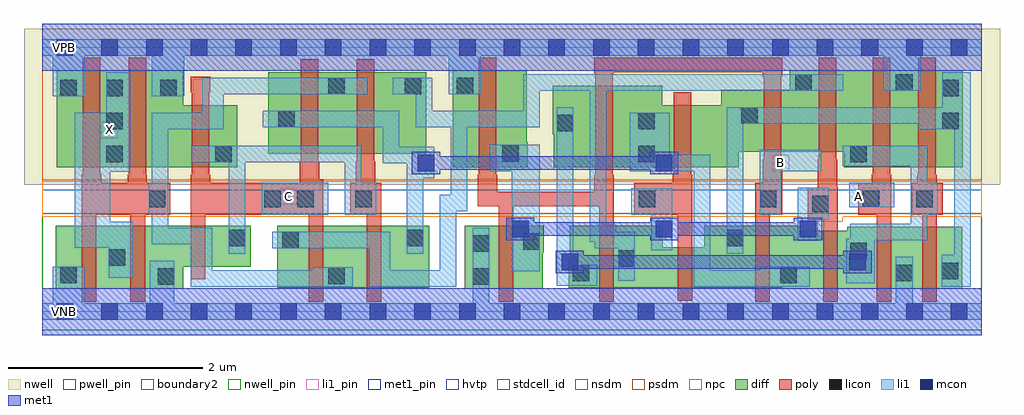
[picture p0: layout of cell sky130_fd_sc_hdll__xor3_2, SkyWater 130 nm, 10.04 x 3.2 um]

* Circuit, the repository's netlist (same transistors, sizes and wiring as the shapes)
* Copyright 2020 The SkyWater PDK Authors
*
* Licensed under the Apache License, Version 2.0 (the "License");
* you may not use this file except in compliance with the License.
* You may obtain a copy of the License at
*
*     https://www.apache.org/licenses/LICENSE-2.0
*
* Unless required by applicable law or agreed to in writing, software
* distributed under the License is distributed on an "AS IS" BASIS,
* WITHOUT WARRANTIES OR CONDITIONS OF ANY KIND, either express or implied.
* See the License for the specific language governing permissions and
* limitations under the License.
*
* SPDX-License-Identifier: Apache-2.0

.SUBCKT sky130_fd_sc_hdll__xor3_2 A B C VGND VNB VPB VPWR X
*.PININFO A:I B:I C:I VGND:I VNB:I VPB:I VPWR:I X:O
MMIP3 X net117 VPWR VPB sky130_fd_pr__pfet_01v8_hvt m=2 w=1.0U l=0.18U mult=1 sa=0.265
+ sb=0.265 sd=0.28 area=0.063 perim=1.14
MI650 mid1 Cb net117 VPB sky130_fd_pr__pfet_01v8_hvt m=1 w=0.84U l=0.18U mult=1
+ sa=0.265 sb=0.265 sd=0.28 area=0.063 perim=1.14
MI1 mid2 C net117 VPB sky130_fd_pr__pfet_01v8_hvt m=1 w=0.84U l=0.18U mult=1 sa=0.265
+ sb=0.265 sd=0.28 area=0.063 perim=1.14
MI33 Cb C VPWR VPB sky130_fd_pr__pfet_01v8_hvt m=1 w=0.64U l=0.18U mult=1 sa=0.265
+ sb=0.265 sd=0.28 area=0.063 perim=1.14
MI45 Ab A VPWR VPB sky130_fd_pr__pfet_01v8_hvt m=1 w=1.0U l=0.18U mult=1 sa=0.265
+ sb=0.265 sd=0.28 area=0.063 perim=1.14
MI47 Abb Ab VPWR VPB sky130_fd_pr__pfet_01v8_hvt m=1 w=1.0U l=0.18U mult=1 sa=0.265
+ sb=0.265 sd=0.28 area=0.063 perim=1.14
MI19 mid1 Bb Ab VPB sky130_fd_pr__pfet_01v8_hvt m=1 w=0.84U l=0.18U mult=1 sa=0.265
+ sb=0.265 sd=0.28 area=0.063 perim=1.14
MI16 Bb B VPWR VPB sky130_fd_pr__pfet_01v8_hvt m=1 w=1.0U l=0.18U mult=1 sa=0.265
+ sb=0.265 sd=0.28 area=0.063 perim=1.14
MI23 mid1 B Abb VPB sky130_fd_pr__pfet_01v8_hvt m=1 w=0.64U l=0.18U mult=1 sa=0.265
+ sb=0.265 sd=0.28 area=0.063 perim=1.14
MI26 mid2 Bb Abb VPB sky130_fd_pr__pfet_01v8_hvt m=1 w=0.64U l=0.18U mult=1 sa=0.265
+ sb=0.265 sd=0.28 area=0.063 perim=1.14
MI27 mid2 B Ab VPB sky130_fd_pr__pfet_01v8_hvt m=1 w=0.84U l=0.18U mult=1 sa=0.265
+ sb=0.265 sd=0.28 area=0.063 perim=1.14
MMIN3 X net117 VGND VNB sky130_fd_pr__nfet_01v8 m=2 w=0.65U l=0.15U mult=1 sa=0.265
+ sb=0.265 sd=0.28 area=0.063 perim=1.14
MI34 Cb C VGND VNB sky130_fd_pr__nfet_01v8 m=1 w=0.42U l=0.15U mult=1 sa=0.265
+ sb=0.265 sd=0.28 area=0.063 perim=1.14
MI649 mid1 C net117 VNB sky130_fd_pr__nfet_01v8 m=1 w=0.64U l=0.15U mult=1 sa=0.265
+ sb=0.265 sd=0.28 area=0.063 perim=1.14
MI2 mid2 Cb net117 VNB sky130_fd_pr__nfet_01v8 m=1 w=0.64U l=0.15U mult=1 sa=0.265
+ sb=0.265 sd=0.28 area=0.063 perim=1.14
MI44 Ab A VGND VNB sky130_fd_pr__nfet_01v8 m=1 w=0.64U l=0.15U mult=1 sa=0.265
+ sb=0.265 sd=0.28 area=0.063 perim=1.14
MI46 Abb Ab VGND VNB sky130_fd_pr__nfet_01v8 m=1 w=0.64U l=0.15U mult=1 sa=0.265
+ sb=0.265 sd=0.28 area=0.063 perim=1.14
MI17 Bb B VGND VNB sky130_fd_pr__nfet_01v8 m=1 w=0.65U l=0.15U mult=1 sa=0.265
+ sb=0.265 sd=0.28 area=0.063 perim=1.14
MI24 Ab B mid1 VNB sky130_fd_pr__nfet_01v8 m=1 w=0.64U l=0.15U mult=1 sa=0.265
+ sb=0.265 sd=0.28 area=0.063 perim=1.14
MI25 Abb Bb mid1 VNB sky130_fd_pr__nfet_01v8 m=1 w=0.42U l=0.15U mult=1 sa=0.265
+ sb=0.265 sd=0.28 area=0.063 perim=1.14
MI28 Abb B mid2 VNB sky130_fd_pr__nfet_01v8 m=1 w=0.64U l=0.15U mult=1 sa=0.265
+ sb=0.265 sd=0.28 area=0.063 perim=1.14
MI29 Ab Bb mid2 VNB sky130_fd_pr__nfet_01v8 m=1 w=0.6U l=0.15U mult=1 sa=0.265
+ sb=0.265 sd=0.28 area=0.063 perim=1.14
.ENDS sky130_fd_sc_hdll__xor3_2

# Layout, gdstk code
import gdstk
lib = gdstk.Library(unit=1e-6, precision=1e-09)
def R(c, l, rs):  # rectangles x0, y0, x1, y1
    for r in rs: c.add(gdstk.rectangle(r[:2], r[2:], *l))
def A(c, l, x, y, w, h, nx, ny, dx, dy):  # array of equal rectangles
    R(c, l, [(x+i*dx, y+j*dy, x+i*dx+w, y+j*dy+h) for i in range(nx) for j in range(ny)])
def P(c, l, *ps):  # polygons
    for p in ps: c.add(gdstk.Polygon(p, *l))
nwell_pin = (64, 16)
nwell = (64, 20)
diff = (65, 20)
poly = (66, 20)
licon = (66, 44)
li1_pin = (67, 16)
li1 = (67, 20)
mcon = (67, 44)
met1_pin = (68, 16)
met1 = (68, 20)
hvtp = (78, 44)
stdcell_id = (81, 4)
nsdm = (93, 44)
psdm = (94, 20)
npc = (95, 20)
pwell_pin = (122, 16)
boundary2 = (236, 0)

sky130_fd_sc_hdll__xor3_ = lib.new_cell('sky130_fd_sc_hdll__xor3_2')
R(sky130_fd_sc_hdll__xor3_, nwell_pin, [(0.145,2.635,0.315,2.805)])
R(sky130_fd_sc_hdll__xor3_, nwell, [(-0.19,1.305,9.85,2.91)])
R(sky130_fd_sc_hdll__xor3_, diff, [(2.415,0.245,3.98,0.885), (2.325,1.625,3.95,2.465)])
P(sky130_fd_sc_hdll__xor3_, diff, [(2.145,0.885),(0.135,0.885),(0.135,0.235),(1.45,0.235),(1.45,0.465),(2.145,0.465)],
  [(2.005,2.125),(1.45,2.125),(1.45,2.485),(0.145,2.485),(0.145,1.485),(2.005,1.485)],
  [(4.99,1.745),(4.98,1.745),(4.98,2.485),(4.22,2.485),(4.22,1.485),(4.99,1.485)],
  [(5.155,0.885),(4.345,0.885),(4.345,0.235),(5.145,0.235),(5.145,0.605),(5.155,0.605)],
  [(9.46,0.875),(8.28,0.875),(8.28,0.835),(7.78,0.835),(7.78,0.885),(6.81,0.885),(6.81,0.665),(6.38,0.665),(6.38,0.885),(5.425,0.885),(5.425,0.525),(5.415,0.525),(5.415,0.245),(7.615,0.245),(7.615,0.235),(9.46,0.235)],
  [(9.465,2.485),(7.685,2.485),(7.685,2.285),(6.985,2.285),(6.985,2.125),(6.375,2.125),(6.375,2.325),(5.25,2.325),(5.25,1.825),(5.26,1.825),(5.26,1.485),(7.16,1.485),(7.16,1.645),(8.25,1.645),(8.25,1.485),(9.465,1.485)])
P(sky130_fd_sc_hdll__xor3_, poly, [(1.315,1.325),(1.075,1.325),(1.075,1.41),(1.065,1.41),(1.065,2.615),(0.885,2.615),(0.885,1.41),(0.875,1.41),(0.875,1.325),(0.605,1.325),(0.605,1.41),(0.595,1.41),(0.595,2.615),(0.415,2.615),(0.415,1.41),(0.405,1.41),(0.405,0.105),(0.555,0.105),(0.555,0.995),(0.905,0.995),(0.905,0.105),(1.055,0.105),(1.055,0.995),(1.315,0.995)],
  [(2.89,1.355),(2.845,1.355),(2.845,1.55),(2.835,1.55),(2.835,2.595),(2.655,2.595),(2.655,1.55),(2.645,1.55),(2.645,1.325),(1.725,1.325),(1.725,1.41),(1.715,1.41),(1.715,2.255),(1.725,2.255),(1.725,2.415),(1.525,2.415),(1.525,2.255),(1.535,2.255),(1.535,1.41),(1.525,1.41),(1.525,0.335),(1.675,0.335),(1.675,0.995),(2.74,0.995),(2.74,0.105),(2.89,0.105)],
  [(3.485,1.325),(3.425,1.325),(3.425,1.55),(3.415,1.55),(3.415,2.595),(3.235,2.595),(3.235,1.55),(3.225,1.55),(3.225,1.325),(3.165,1.325),(3.165,0.995),(3.335,0.995),(3.335,0.105),(3.485,0.105)],
  [(6.685,1.41),(6.675,1.41),(6.675,2.255),(6.495,2.255),(6.495,1.41),(6.485,1.41),(6.485,1.325),(6.085,1.325),(6.085,0.995),(6.535,0.995),(6.535,0.115),(6.685,0.115)],
  [(7.61,2.615),(5.675,2.615),(5.675,2.455),(5.685,2.455),(5.685,1.41),(5.675,1.41),(5.675,1.235),(4.68,1.235),(4.68,1.41),(4.67,1.41),(4.67,2.615),(4.49,2.615),(4.49,1.41),(4.48,1.41),(4.48,1.085),(4.695,1.085),(4.695,0.105),(4.845,0.105),(4.845,1.085),(5.725,1.085),(5.725,0.105),(5.875,0.105),(5.875,1.41),(5.865,1.41),(5.865,2.455),(5.875,2.455),(5.875,2.465),(7.41,2.465),(7.41,2.415),(7.42,2.415),(7.42,1.57),(7.41,1.57),(7.41,1.325),(7.33,1.325),(7.33,0.105),(7.48,0.105),(7.48,0.995),(7.61,0.995),(7.61,1.57),(7.6,1.57),(7.6,2.415),(7.61,2.415)],
  [(8.18,1.28),(8.175,1.28),(8.175,1.57),(8.165,1.57),(8.165,2.615),(7.985,2.615),(7.985,1.57),(7.975,1.57),(7.975,1.275),(7.87,1.275),(7.87,0.945),(8.03,0.945),(8.03,0.105),(8.18,0.105)],
  [(8.73,1.41),(8.72,1.41),(8.72,2.615),(8.54,2.615),(8.54,1.41),(8.53,1.41),(8.53,1.325),(8.39,1.325),(8.39,0.995),(8.58,0.995),(8.58,0.105),(8.73,0.105)],
  [(9.26,1.325),(9.2,1.325),(9.2,1.41),(9.19,1.41),(9.19,2.615),(9.01,2.615),(9.01,1.41),(9,1.41),(9,1.325),(8.94,1.325),(8.94,0.995),(9.05,0.995),(9.05,0.105),(9.2,0.105),(9.2,0.995),(9.26,0.995)])
A(sky130_fd_sc_hdll__xor3_, licon, 0.655, 1.535, 0.17, 0.17, 1, 3, 0, 0.34)
R(sky130_fd_sc_hdll__xor3_, licon, [(1.185,0.275,1.355,0.445), (4.425,0.275,4.595,0.445), (2.94,0.285,3.11,0.455), (0.185,0.295,0.355,0.465), (7.59,0.295,7.76,0.465), (5.455,0.315,5.625,0.485), (8.78,0.315,8.95,0.485), (9.25,0.335,9.42,0.505), (5.925,0.46,6.095,0.63), (0.68,0.475,0.85,0.645), (8.31,0.54,8.48,0.71), (4.425,0.615,4.595,0.785), (4.945,0.635,5.115,0.805), (2.465,0.655,2.635,0.825), (1.915,0.675,2.085,0.845), (3.745,0.675,3.915,0.845), (7.04,0.675,7.21,0.845), (7.92,1.025,8.09,1.195), (1.095,1.075,1.265,1.245), (2.28,1.075,2.45,1.245), (2.62,1.075,2.79,1.245), (3.215,1.075,3.385,1.245), (6.135,1.075,6.305,1.245), (7.38,1.075,7.55,1.245), (8.44,1.075,8.61,1.245), (8.99,1.075,9.16,1.245), (1.775,1.535,1.945,1.705), (6.13,1.535,6.3,1.705), (8.31,1.535,8.48,1.705), (4.73,1.545,4.9,1.715), (5.29,1.855,5.46,2.025), (6.13,1.875,6.3,2.045), (9.255,1.875,9.425,2.045), (2.425,1.895,2.595,2.065), (7.19,1.935,7.36,2.105), (0.185,2.215,0.355,2.385), (1.21,2.215,1.38,2.385), (9.255,2.215,9.425,2.385), (2.94,2.235,3.11,2.405), (3.725,2.235,3.895,2.405), (4.26,2.235,4.43,2.405), (7.745,2.275,7.915,2.445), (8.78,2.275,8.95,2.445)])
R(sky130_fd_sc_hdll__xor3_, li1_pin, [(2.45,1.105,2.62,1.275), (8.43,1.105,8.6,1.275), (7.51,1.445,7.68,1.615), (0.605,1.785,0.775,1.955)])
R(sky130_fd_sc_hdll__xor3_, li1, [(2.255,0.995,2.94,1.325), (8.3,1.075,8.76,1.325)])
P(sky130_fd_sc_hdll__xor3_, li1, [(3.435,1.325),(3.28,1.325),(3.28,1.705),(1.53,1.705),(1.53,1.535),(1.915,1.535),(1.915,0.595),(2.085,0.595),(2.085,1.535),(3.11,1.535),(3.11,0.995),(3.435,0.995)],
  [(6.48,1.27),(6.055,1.27),(6.055,0.995),(6.265,0.995),(6.265,0.63),(6.48,0.63)],
  [(7.895,0.465),(7.38,0.465),(7.38,0.425),(6.87,0.425),(6.87,1.615),(6.455,1.615),(6.455,2.045),(6.04,2.045),(6.04,1.445),(6.7,1.445),(6.7,0.255),(7.895,0.255)],
  [(8.01,1.665),(7.38,1.665),(7.38,0.995),(7.6,0.995),(7.6,1.445),(8.01,1.445)],
  [(8.09,1.275),(7.77,1.275),(7.77,0.73),(7.975,0.73),(7.975,0.945),(8.09,0.945)],
  [(8.24,2.445),(4.945,2.445),(4.945,2.065),(4.01,2.065),(4.01,2.405),(3.605,2.405),(3.605,2.235),(3.84,2.235),(3.84,1.895),(4.2,1.895),(4.2,1.205),(4.085,1.205),(4.085,0.425),(3.575,0.425),(3.575,0.825),(2.365,0.825),(2.365,0.655),(3.36,0.655),(3.36,0.255),(4.255,0.255),(4.255,1.035),(4.37,1.035),(4.37,1.895),(5.115,1.895),(5.115,2.275),(5.63,2.275),(5.63,0.72),(5.68,0.72),(5.68,0.655),(5.925,0.655),(5.925,0.32),(6.095,0.32),(6.095,0.825),(5.9,0.825),(5.9,0.89),(5.8,0.89),(5.8,2.275),(8.24,2.275)],
  [(9.21,1.325),(9.1,1.325),(9.1,1.705),(8.23,1.705),(8.23,1.495),(8.93,1.495),(8.93,0.905),(8.31,0.905),(8.31,0.75),(8.27,0.75),(8.27,0.295),(8.56,0.295),(8.56,0.735),(9.1,0.735),(9.1,0.995),(9.21,0.995)],
  [(9.55,2.465),(9.255,2.465),(9.255,2.105),(7.04,2.105),(7.04,0.595),(7.21,0.595),(7.21,1.935),(9.015,1.935),(9.015,1.875),(9.38,1.875),(9.38,0.585),(9.25,0.585),(9.25,0.255),(9.55,0.255)],
  [(9.66,2.805),(0,2.805),(0,2.635),(0.105,2.635),(0.105,2.215),(0.435,2.215),(0.435,2.635),(1.125,2.635),(1.125,2.215),(1.46,2.215),(1.46,2.635),(4.18,2.635),(4.18,2.235),(4.51,2.235),(4.51,2.635),(8.65,2.635),(8.65,2.275),(9.035,2.275),(9.035,2.635),(9.66,2.635)],
  [(9.66,0.085),(8.95,0.085),(8.95,0.565),(8.78,0.565),(8.78,0.085),(4.595,0.085),(4.595,0.865),(4.425,0.865),(4.425,0.085),(1.355,0.085),(1.355,0.525),(1.105,0.525),(1.105,0.085),(0.435,0.085),(0.435,0.465),(0.105,0.465),(0.105,0.085),(0,0.085),(0,-0.085),(9.66,-0.085)],
  [(0.905,2.465),(0.655,2.465),(0.655,2.045),(0.33,2.045),(0.33,0.66),(0.68,0.66),(0.68,0.35),(0.93,0.35),(0.93,0.925),(0.695,0.925),(0.695,1.44),(0.905,1.44)],
  [(5.115,1.715),(4.6,1.715),(4.6,1.445),(4.825,1.445),(4.825,0.415),(5.115,0.415)],
  [(4.03,1.695),(3.67,1.695),(3.67,2.065),(2.265,2.065),(2.265,1.895),(3.5,1.895),(3.5,1.525),(3.745,1.525),(3.745,0.595),(3.915,0.595),(3.915,1.375),(4.03,1.375)],
  [(3.34,2.405),(1.645,2.405),(1.645,2.045),(1.125,2.045),(1.125,1.325),(1.095,1.325),(1.095,0.995),(1.125,0.995),(1.125,0.695),(1.525,0.695),(1.525,0.255),(3.19,0.255),(3.19,0.455),(2.785,0.455),(2.785,0.425),(1.745,0.425),(1.745,0.865),(1.295,0.865),(1.295,1.875),(1.865,1.875),(1.865,2.235),(3.34,2.235)],
  [(5.705,0.485),(5.51,0.485),(5.51,0.595),(5.46,0.595),(5.46,2.105),(5.29,2.105),(5.29,0.265),(5.705,0.265)])
A(sky130_fd_sc_hdll__xor3_, mcon, 0.145, -0.085, 0.17, 0.17, 21, 2, 0.46, 2.72)
A(sky130_fd_sc_hdll__xor3_, mcon, 4.83, 0.765, 0.17, 0.17, 3, 1, 1.48, 0)
R(sky130_fd_sc_hdll__xor3_, mcon, [(5.34,0.425,5.51,0.595), (8.3,0.425,8.47,0.595), (3.86,1.445,4.03,1.615), (6.31,1.445,6.48,1.615)])
R(sky130_fd_sc_hdll__xor3_, met1_pin, [(0.145,-0.085,0.315,0.085), (0.145,2.635,0.315,2.805)])
R(sky130_fd_sc_hdll__xor3_, met1, [(0,-0.24,9.66,0.24), (0,2.48,9.66,2.96)])
P(sky130_fd_sc_hdll__xor3_, met1, [(6.54,1.645),(6.25,1.645),(6.25,1.6),(4.09,1.6),(4.09,1.645),(3.8,1.645),(3.8,1.415),(4.09,1.415),(4.09,1.46),(6.25,1.46),(6.25,1.415),(6.54,1.415)],
  [(8.02,0.965),(7.73,0.965),(7.73,0.92),(6.54,0.92),(6.54,0.965),(6.25,0.965),(6.25,0.92),(5.06,0.92),(5.06,0.965),(4.77,0.965),(4.77,0.735),(5.06,0.735),(5.06,0.78),(6.25,0.78),(6.25,0.735),(6.54,0.735),(6.54,0.78),(7.73,0.78),(7.73,0.735),(8.02,0.735)],
  [(8.53,0.625),(8.24,0.625),(8.24,0.58),(5.57,0.58),(5.57,0.625),(5.28,0.625),(5.28,0.395),(5.57,0.395),(5.57,0.44),(8.24,0.44),(8.24,0.395),(8.53,0.395)])
R(sky130_fd_sc_hdll__xor3_, hvtp, [(0,1.25,9.66,2.72)])
R(sky130_fd_sc_hdll__xor3_, stdcell_id, [(0,0,9.66,2.72)])
R(sky130_fd_sc_hdll__xor3_, nsdm, [(0,-0.19,9.66,1.015)])
R(sky130_fd_sc_hdll__xor3_, psdm, [(0,1.355,9.66,2.91)])
P(sky130_fd_sc_hdll__xor3_, npc, [(9.66,1.345),(0,1.345),(0,0.975),(7.81,0.975),(7.81,0.925),(8.23,0.925),(8.23,0.975),(9.66,0.975)])
R(sky130_fd_sc_hdll__xor3_, pwell_pin, [(0.145,-0.085,0.315,0.085)])
R(sky130_fd_sc_hdll__xor3_, boundary2, [(0,0,9.66,2.72)])
sky130_fd_sc_hdll__xor3_.add(gdstk.Label('X', (0.69,1.87), layer=67, texttype=5))
sky130_fd_sc_hdll__xor3_.add(gdstk.Label('C', (2.53,1.19), layer=67, texttype=5))
sky130_fd_sc_hdll__xor3_.add(gdstk.Label('B', (7.595,1.53), layer=67, texttype=5))
sky130_fd_sc_hdll__xor3_.add(gdstk.Label('A', (8.395,1.19), layer=67, texttype=5))
sky130_fd_sc_hdll__xor3_.add(gdstk.Label('VNB', (0.23,0), layer=64, texttype=59))
sky130_fd_sc_hdll__xor3_.add(gdstk.Label('VPB', (0.23,2.72), layer=64, texttype=5))
sky130_fd_sc_hdll__xor3_.add(gdstk.Label('VGND', (0.23,0), layer=68, texttype=5))
sky130_fd_sc_hdll__xor3_.add(gdstk.Label('VPWR', (0.23,2.72), layer=68, texttype=5))
sky130_fd_sc_hdll__xor3_.add(gdstk.Label('xor3_2', (0,0), layer=83, texttype=44))

lib.write_gds('sky130_fd_sc_hdll__xor3_2.gds')
